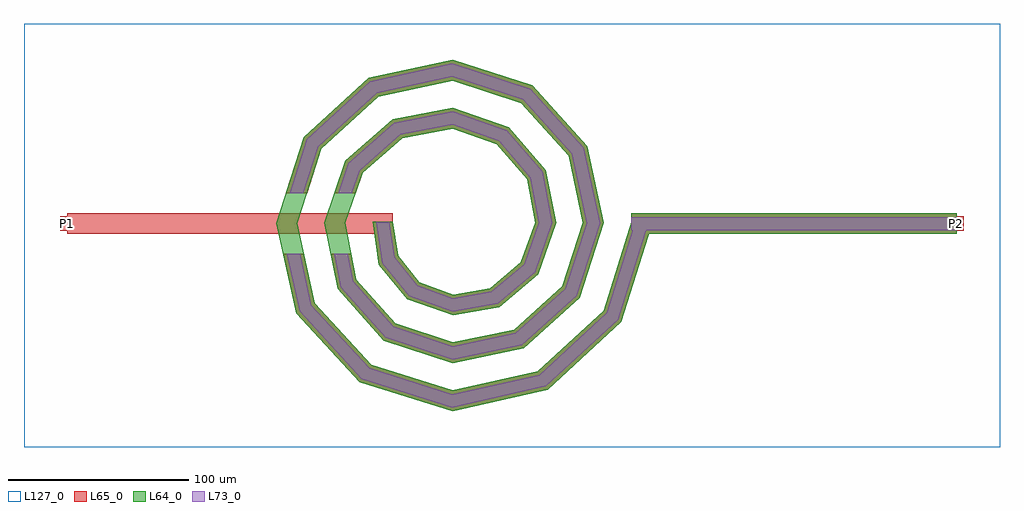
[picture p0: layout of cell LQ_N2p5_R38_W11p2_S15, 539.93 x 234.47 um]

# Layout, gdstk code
import gdstk
lib = gdstk.Library(unit=1e-6, precision=1e-09)
def R(c, l, rs):  # rectangles x0, y0, x1, y1
    for r in rs: c.add(gdstk.rectangle(r[:2], r[2:], *l))
def P(c, l, *ps):  # polygons
    for p in ps: c.add(gdstk.Polygon(p, *l))
L64_0 = (64, 0)
L65_0 = (65, 0)
L73_0 = (73, 0)
L127_0 = (127, 0)

lq_n2p5_r38_w11p2_s15 = lib.new_cell('LQ_N2p5_R38_W11p2_S15')
R(lq_n2p5_r38_w11p2_s15, L64_0, [(99.094,-5.6,279.094,5.6)])
P(lq_n2p5_r38_w11p2_s15, L64_0, [(-29.91,-17.945),(-18.059,-32.391),(0.529,-39.287),(21.183,-35.683),(38.087,-21.433),(45.908,0.461),(41.448,24.441),(24.793,43.793),(0.409,52.53),(-27.71,47.207),(-49.506,28.143),(-59.153,0.367),(-52.962,-30.988),(-31.486,-55.224),(0.333,-65.777),(34.273,-58.715),(60.946,-34.824),(72.401,0.305),(64.465,37.562),(38.158,66.67),(0.281,79.026),(-40.854,70.213),(-72.397,41.489),(-85.65,0.261),(-75.96,-44.15),(-44.818,-78.125),(0.243,-92.275),(47.448,-81.706),(83.854,-48.144),(99.347,1.663),(110.041,-1.663),(93.656,-54.341),(52.829,-91.979),(0.243,-103.862),(-51.042,-87.909),(-86.249,-49.501),(-97.235,0.261),(-82.162,47.745),(-46.171,80.52),(0.281,90.609),(44.45,76.412),(74.792,42.838),(83.982,0.305),(70.661,-41.159),(39.502,-69.067),(0.333,-77.355),(-37.871,-64.907),(-63.343,-36.161),(-70.728,0.367),(-59.149,34.589),(-32.814,57.623),(0.409,64.1),(31.313,53.386),(51.906,29.457),(57.471,0.461),(47.617,-28.048),(26.089,-46.196),(0.529,-50.841),(-24.796,-41.837),(-40.493,-22.702),(-43.969,0.881),(-32.908,0.881)])
R(lq_n2p5_r38_w11p2_s15, L65_0, [(-212.838,-5.6,-32.838,5.6), (99.094,-5.6,279.094,5.6), (-216.838,-4,-208.838,4), (275.094,-4,283.094,4)])
P(lq_n2p5_r38_w11p2_s15, L65_0, [(-75.96,-44.15),(-44.818,-78.125),(0.244,-92.275),(47.448,-81.706),(83.854,-48.144),(99.347,1.663),(110.041,-1.663),(93.656,-54.341),(52.829,-91.979),(0.244,-103.862),(-51.042,-87.909),(-86.249,-49.501),(-93.469,-16.8),(-81.999,-16.8)],
  [(-52.962,-30.988),(-31.487,-55.224),(0.334,-65.777),(34.273,-58.715),(60.946,-34.824),(72.401,0.305),(64.465,37.562),(38.158,66.67),(0.282,79.026),(-40.855,70.213),(-72.397,41.489),(-80.234,16.8),(-91.985,16.8),(-82.162,47.745),(-46.171,80.52),(0.282,90.609),(44.45,76.412),(74.792,42.839),(83.982,0.305),(70.661,-41.159),(39.502,-69.067),(0.334,-77.356),(-37.871,-64.907),(-63.343,-36.161),(-67.257,-16.8),(-55.831,-16.8)],
  [(-18.059,-32.391),(0.529,-39.287),(21.183,-35.683),(38.087,-21.433),(45.908,0.461),(41.448,24.441),(24.793,43.793),(0.409,52.53),(-27.71,47.207),(-49.506,28.143),(-53.344,16.8),(-65.168,16.8),(-59.149,34.589),(-32.814,57.623),(0.409,64.1),(31.313,53.386),(51.907,29.457),(57.471,0.461),(47.617,-28.048),(26.089,-46.196),(0.529,-50.841),(-24.796,-41.837),(-40.493,-22.702),(-43.969,0.881),(-32.908,0.881),(-29.91,-17.945)])
R(lq_n2p5_r38_w11p2_s15, L73_0, [(99.094,-3.6,279.094,3.6)])
P(lq_n2p5_r38_w11p2_s15, L73_0, [(-77.798,-45.106),(-45.929,-79.872),(0.157,-94.344),(48.409,-83.54),(85.604,-49.251),(101.256,1.069),(108.132,-1.069),(91.906,-53.235),(51.868,-90.144),(0.157,-101.793),(-49.931,-86.162),(-84.411,-48.546),(-91.42,-16.8),(-84.047,-16.8)],
  [(-54.816,-31.912),(-32.627,-56.953),(0.214,-67.844),(35.206,-60.563),(62.681,-35.956),(74.469,0.196),(66.309,38.504),(39.282,68.41),(0.181,81.094),(-41.804,72.054),(-74.14,42.606),(-82.333,16.8),(-89.887,16.8),(-80.418,46.628),(-45.222,78.679),(0.181,88.541),(43.327,74.673),(72.948,41.896),(81.914,0.196),(68.926,-40.028),(38.568,-67.218),(0.214,-75.288),(-36.731,-63.178),(-61.49,-35.237),(-65.217,-16.8),(-57.871,-16.8)],
  [(-19.262,-34.078),(0.34,-41.35),(22.059,-37.56),(39.789,-22.614),(47.973,0.297),(43.315,25.336),(25.957,45.506),(0.263,54.596),(-28.621,49.067),(-51.228,29.294),(-55.456,16.8),(-63.057,16.8),(-57.427,33.438),(-31.902,55.763),(0.263,62.034),(30.149,51.673),(50.039,28.562),(55.406,0.297),(45.915,-26.867),(25.213,-44.318),(0.34,-48.778),(-23.593,-40.15),(-38.603,-21.853),(-41.994,0.566),(-34.883,0.566),(-31.799,-18.794)])
R(lq_n2p5_r38_w11p2_s15, L127_0, [(-236.838,-123.862,303.094,110.609)])
lq_n2p5_r38_w11p2_s15.add(gdstk.Label('P2', (279.094,0), layer=65, texttype=0))
lq_n2p5_r38_w11p2_s15.add(gdstk.Label('P1', (-212.838,0), layer=65, texttype=0))
lq_n2p5_r38_w11p2_s15.add(gdstk.Label('P2', (283.094,0), layer=145, texttype=0))
lq_n2p5_r38_w11p2_s15.add(gdstk.Label('P1', (-216.838,0), layer=145, texttype=0))

lib.write_gds('LQ_N2p5_R38_W11p2_S15.gds')
